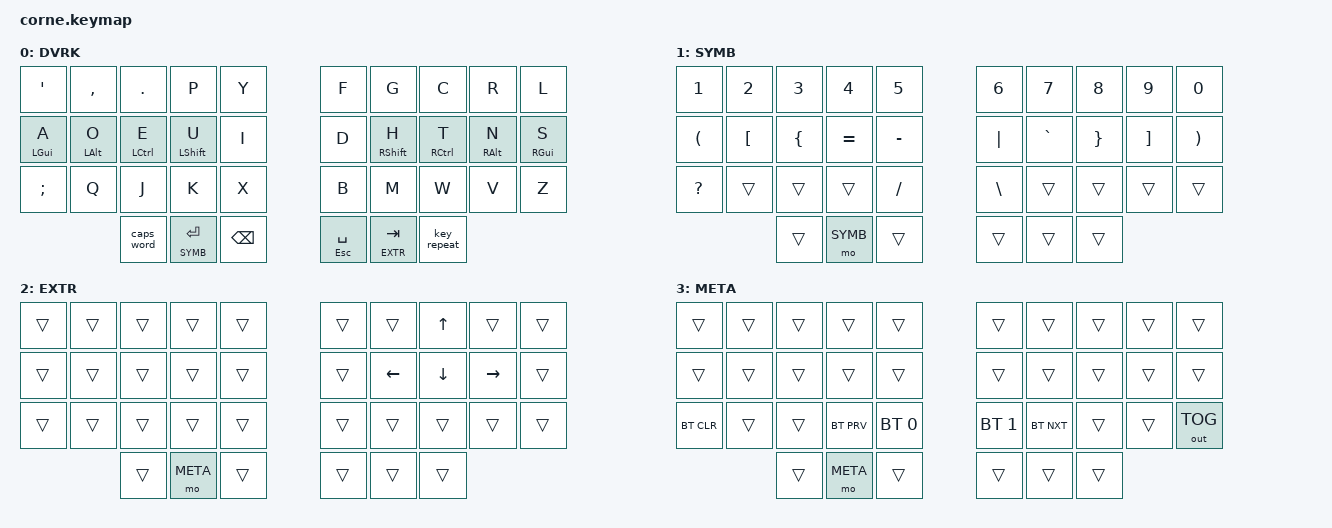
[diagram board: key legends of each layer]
/*
 * Copyright (c) 2020 The ZMK Contributors
 *
 * SPDX-License-Identifier: MIT
 */

#include <behaviors.dtsi>
#include <dt-bindings/zmk/keys.h>
#include <dt-bindings/zmk/bt.h>
#include <dt-bindings/zmk/outputs.h>

// Layers
#define DEFAULT 0
#define SYMB 1
#define EXTR 2
#define META 3

&mt {
	flavor = "tap-preferred";
    tapping_term_ms = <200>;
};

&caps_word {
    continue-list = <UNDERSCORE MINUS BSPC>;
};

/ {
    chosen {
        zmk,matrix_transform = &five_column_transform;
    };

    combos {
        compatible = "zmk,combos";
        combo_esc {
            timeout-ms = <50>;
            key-positions = <14 17>; // Both Home row SHFT keys (U & H)
            bindings = <&kp ESC>;
        };
        
         combo_tab {
            timeout-ms = <50>;
            key-positions = <13 18>; // Both Home row CTRL keys (E & T)
            bindings = <&kp TAB>;
        };
        
    };
        keymap {
                compatible = "zmk,keymap";

        default_layer {
            display-name = "DVRK";
            bindings = <
             //╭──────────────┬──────────────┬──────────────┬──────────────┬──────────────╮     ╭──────────────┬──────────────┬──────────────┬──────────────┬──────────────╮
                &kp SQT        &kp COMMA      &kp DOT        &kp P          &kp Y                &kp F          &kp G          &kp C          &kp R          &kp L
             //├──────────────┼──────────────┼──────────────┼──────────────┼──────────────┤     ├──────────────┼──────────────┼──────────────┼──────────────┼──────────────┤
                &mt LGUI A     &mt LALT O     &mt LCTRL E    &mt LSHFT U    &kp I                &kp D          &mt RSHFT H    &mt RCTRL T    &mt RALT N     &mt RGUI S
             //├──────────────┼──────────────┼──────────────┼──────────────┼──────────────┤     ├──────────────┼──────────────┼──────────────┼──────────────┼──────────────┤
                &kp SEMI       &kp Q          &kp J          &kp K          &kp X                &kp B          &kp M          &kp W          &kp V          &kp Z
             //╰──────────────┴──────────────┼──────────────┼──────────────┼──────────────┤     ├──────────────┼──────────────┼──────────────┼──────────────┴──────────────╯
                                              &caps_word     &lt SYMB RET   &kp BKSP             &mt ESC SPC    &lt EXTR TAB   &key_repeat
             //                              ╰──────────────┴──────────────┴──────────────╯     ╰──────────────┴──────────────┴──────────────╯
            >;
        };

        symbol {
            display-name = "SYMB";
            bindings = <
             //╭──────────────┬──────────────┬──────────────┬──────────────┬──────────────╮     ╭──────────────┬──────────────┬──────────────┬──────────────┬──────────────╮
                &kp N1         &kp N2         &kp N3         &kp N4         &kp N5               &kp N6         &kp N7         &kp N8         &kp N9         &kp N0
             //├──────────────┼──────────────┼──────────────┼──────────────┼──────────────┤     ├──────────────┼──────────────┼──────────────┼──────────────┼──────────────┤
                &kp LPAR       &kp LBKT       &kp LBRC       &kp EQUAL      &kp MINUS            &kp PIPE       &kp GRAVE      &kp RBRC       &kp RBKT       &kp RPAR
             //├──────────────┼──────────────┼──────────────┼──────────────┼──────────────┤     ├──────────────┼──────────────┼──────────────┼──────────────┼──────────────┤
                &kp QMARK      &trans         &trans         &trans         &kp FSLH             &kp BSLH       &trans         &trans         &trans         &trans
             //╰──────────────┴──────────────┼──────────────┼──────────────┼──────────────┤     ├──────────────┼──────────────┼──────────────┼──────────────┴──────────────╯
                                              &trans         &mo SYMB       &trans               &trans         &trans         &trans
             //                              ╰──────────────┴──────────────┴──────────────╯     ╰──────────────┴──────────────┴──────────────╯
            >;
        };

        extra {
            display-name = "EXTR";
            bindings = <
             //╭──────────────┬──────────────┬──────────────┬──────────────┬──────────────╮     ╭──────────────┬──────────────┬──────────────┬──────────────┬──────────────╮
                &trans         &trans         &trans         &trans         &trans               &trans         &trans         &kp UP         &trans         &trans
             //├──────────────┼──────────────┼──────────────┼──────────────┼──────────────┤     ├──────────────┼──────────────┼──────────────┼──────────────┼──────────────┤
                &trans         &trans         &trans         &trans         &trans               &trans         &kp LEFT       &kp DOWN       &kp RIGHT      &trans
             //├──────────────┼──────────────┼──────────────┼──────────────┼──────────────┤     ├──────────────┼──────────────┼──────────────┼──────────────┼──────────────┤
                &trans         &trans         &trans         &trans         &trans               &trans         &trans         &trans         &trans         &trans
             //╰──────────────┴──────────────┼──────────────┼──────────────┼──────────────┤     ├──────────────┼──────────────┼──────────────┼──────────────┴──────────────╯
                                              &trans         &mo META       &trans               &trans         &trans         &trans
             //                              ╰──────────────┴──────────────┴──────────────╯     ╰──────────────┴──────────────┴──────────────╯
            >;
        };

        meta {
            display-name = "META";
            bindings = <
             //╭──────────────┬──────────────┬──────────────┬──────────────┬──────────────╮     ╭──────────────┬──────────────┬──────────────┬──────────────┬──────────────╮
                &trans         &trans         &trans         &trans         &trans               &trans         &trans         &trans         &trans         &trans
             //├──────────────┼──────────────┼──────────────┼──────────────┼──────────────┤     ├──────────────┼──────────────┼──────────────┼──────────────┼──────────────┤
                &trans         &trans         &trans         &trans         &trans               &trans         &trans         &trans         &trans         &trans
             //├──────────────┼──────────────┼──────────────┼──────────────┼──────────────┤     ├──────────────┼──────────────┼──────────────┼──────────────┼──────────────┤
                &bt BT_CLR     &trans         &trans         &bt BT_PRV     &bt BT_SEL 0         &bt BT_SEL 1   &bt BT_NXT     &trans         &trans         &out OUT_TOG
             //╰──────────────┴──────────────┼──────────────┼──────────────┼──────────────┤     ├──────────────┼──────────────┼──────────────┼──────────────┴──────────────╯
                                              &trans         &mo META       &trans               &trans         &trans         &trans
             //                              ╰──────────────┴──────────────┴──────────────╯     ╰──────────────┴──────────────┴──────────────╯
            >;
        };
    };
};
